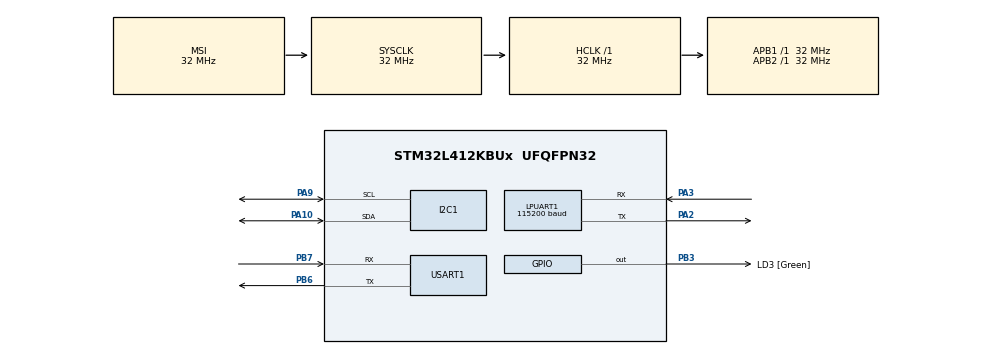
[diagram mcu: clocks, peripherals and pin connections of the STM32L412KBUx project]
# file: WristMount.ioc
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I2C1.Timing=0x00B07CB4
LPUART1.BaudRate=115200
LPUART1.WordLength=UART_WORDLENGTH_8B
Mcu.Family=STM32L4
Mcu.Name=STM32L412KBUx
Mcu.Package=UFQFPN32
NVIC.PriorityGroup=NVIC_PRIORITYGROUP_4
PA10.Mode=I2C
PA10.Signal=I2C1_SDA
PA13\ (JTMS/SWDIO).GPIO_Label=SWDIO
PA13\ (JTMS/SWDIO).Signal=SYS_JTMS-SWDIO
PA14\ (JTCK/SWCLK).GPIO_Label=SWCLK
PA14\ (JTCK/SWCLK).Signal=SYS_JTCK-SWCLK
PA2.Mode=Asynchronous
PA2.Signal=LPUART1_TX
PA3.Mode=Asynchronous
PA3.Signal=LPUART1_RX
PA9.Mode=I2C
PA9.Signal=I2C1_SCL
PB3\ (JTDO/TRACESWO).GPIO_Label=LD3 [Green]
PB3\ (JTDO/TRACESWO).Signal=GPIO_Output
PB6.Mode=Asynchronous
PB6.Signal=USART1_TX
PB7.Mode=Asynchronous
PB7.Signal=USART1_RX
PC14-OSC32_IN\ (PC14).Mode=LSE-External-Oscillator
PC14-OSC32_IN\ (PC14).Signal=RCC_OSC32_IN
PC15-OSC32_OUT\ (PC15).Mode=LSE-External-Oscillator
PC15-OSC32_OUT\ (PC15).Signal=RCC_OSC32_OUT
ProjectManager.HeapSize=0x200
ProjectManager.StackSize=0x400
ProjectManager.TargetToolchain=STM32CubeIDE
RCC.ADCFreq_Value=32000000
RCC.AHBFreq_Value=32000000
RCC.APB1Freq_Value=32000000
RCC.APB1TimFreq_Value=32000000
RCC.APB2Freq_Value=32000000
RCC.APB2TimFreq_Value=32000000
RCC.CortexFreq_Value=32000000
RCC.FLatency=FLASH_LATENCY_1
RCC.HCLKFreq_Value=32000000
RCC.HSE_VALUE=8000000
RCC.HSI48_VALUE=48000000
RCC.HSICalibrationValue=64
RCC.HSI_VALUE=16000000
RCC.MSIClockRange=RCC_MSIRANGE_10
RCC.MSI_VALUE=32000000
RCC.SYSCLKFreq_VALUE=32000000
RCC.USBFreq_Value=32000000
RCC.VCOOutputFreq_Value=256000000
USART1.VirtualMode-Asynchronous=VM_ASYNC
board=NUCLEO-L412KB

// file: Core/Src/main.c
/* USER CODE BEGIN Header */
/**
  ******************************************************************************
  * @file           : main.c
  * @brief          : Main program body
  ******************************************************************************
  * @attention
  *
  * Copyright (c) 2026 STMicroelectronics.
  * All rights reserved.
  *
  * This software is licensed under terms that can be found in the LICENSE file
  * in the root directory of this software component.
  * If no LICENSE file comes with this software, it is provided AS-IS.
  *
  ******************************************************************************
  */
/* USER CODE END Header */
#include "main.h"

/* USER CODE BEGIN Includes */
#include "stdio.h"
#include "math.h"
#include "string.h"
/* USER CODE END Includes */

I2C_HandleTypeDef hi2c1;

UART_HandleTypeDef hlpuart1;
UART_HandleTypeDef huart1;

void SystemClock_Config(void);
static void MX_GPIO_Init(void);
static void MX_I2C1_Init(void);
static void MX_USART1_UART_Init(void);
static void MX_LPUART1_UART_Init(void);

/* USER CODE BEGIN 0 */
uint8_t gyroAddr = 0x28 << 1;
float UARTBuffer[2];
uint8_t buffer[8];
int16_t X_Offset;
int16_t Y_Offset;
int16_t Z_Offset;
int16_t X;
int16_t Y;
int16_t Z;

/* USER CODE END 0 */

int main(void)
{

  /* MCU Configuration--------------------------------------------------------*/

  /* Reset of all peripherals, Initializes the Flash interface and the Systick. */
  HAL_Init();

  /* Configure the system clock */
  SystemClock_Config();

  /* Initialize all configured peripherals */
  MX_GPIO_Init();
  MX_I2C1_Init();
  MX_USART1_UART_Init();
  MX_LPUART1_UART_Init();
  /* USER CODE BEGIN 2 */

  // Configure Accelerometer
  *buffer = 0x07; // Page ID
  *(buffer + 1) = 0x00; // Page 0x00
  HAL_I2C_Master_Transmit(&hi2c1, gyroAddr, buffer, 2, HAL_MAX_DELAY);

  *buffer = 0x3D; // OPR_MODE
  *(buffer + 1) = 0b00010000; // Set to Config Mode
  HAL_I2C_Master_Transmit(&hi2c1, gyroAddr, buffer, 2, HAL_MAX_DELAY);

  *buffer = 0x07; // Page ID
  *(buffer + 1) = 0x01; // Page 0x01
  HAL_I2C_Master_Transmit(&hi2c1, gyroAddr, buffer, 2, HAL_MAX_DELAY);

  *buffer = 0x08; // ACC_CONFIG
  *(buffer + 1) = 0b00010000;
  HAL_I2C_Master_Transmit(&hi2c1, gyroAddr, buffer, 2, HAL_MAX_DELAY);

  *buffer = 0x07; // Page ID
  *(buffer + 1) = 0x00; // Page 0x00
  HAL_I2C_Master_Transmit(&hi2c1, gyroAddr, buffer, 2, HAL_MAX_DELAY);

  *buffer = 0x3B; // UNIT_SEL
  *(buffer + 1) = 0b10000001; // Set ACC units to mg
  HAL_I2C_Master_Transmit(&hi2c1, gyroAddr, buffer, 2, HAL_MAX_DELAY);

  *buffer = 0x3D; // OPR_MODE
  *(buffer + 1) = 0b00011000; // Set to IMU
  HAL_I2C_Master_Transmit(&hi2c1, gyroAddr, buffer, 2, HAL_MAX_DELAY);

  *buffer = 0x3E; // PWR_MODE
  *(buffer + 1) = 0x00; // Normal MOde
  HAL_I2C_Master_Transmit(&hi2c1, gyroAddr, buffer, 2, HAL_MAX_DELAY);

  // Obtain Acc Offsets
  HAL_Delay(500); // Time to calibrate if needed
  *buffer = 0x55; // Start of ACC X, Y, Z offset data
  HAL_I2C_Master_Transmit(&hi2c1, gyroAddr, buffer, 1, HAL_MAX_DELAY);
  HAL_I2C_Master_Receive(&hi2c1, gyroAddr, buffer, 6, HAL_MAX_DELAY);

  X_Offset = *buffer | (*(buffer + 1) << 8);
  Y_Offset = *(buffer + 2) | (*(buffer + 3) << 8);
  Z_Offset = *(buffer + 4) | (*(buffer + 5) << 8);
  /* USER CODE END 2 */

  /* Infinite loop */
  /* USER CODE BEGIN WHILE */
  while (1)
  {
	*buffer = 0x08; // Start of ACC X, Y, Z data
	HAL_I2C_Master_Transmit(&hi2c1, gyroAddr, buffer, 1, HAL_MAX_DELAY);
	HAL_I2C_Master_Receive(&hi2c1, gyroAddr, buffer, 6, HAL_MAX_DELAY);

	X = *buffer | (*(buffer + 1) << 8);
	Y = *(buffer + 2) | (*(buffer + 3) << 8);
	Z = *(buffer + 4) | (*(buffer + 5) << 8);

	float roll = (180.0/M_PI) * atan2(X, Z);
	float pitch = (180.0/M_PI) * atan2(Y, Z);

	// Clip Roll
	if (roll < 25.0 && roll > -25.0) {
		roll = 0;
	}
	else if (roll > 90.0) {
		roll = 1;
	}
	else if (roll < -90.0) {
		roll = -1;
	} else {
		roll = roll / 90.0;
	}

	// Clip Pitch
	if (pitch < 10.0 && pitch > -10.0) {
		pitch = 0;
	}
	else if (pitch > 60.0) {
		pitch = 1;
	}
	else if (pitch < -60.0) {
		pitch = -1;
	} else {
		pitch = pitch / 60.0;
	}

	printf("roll: %.2f, pitch: %.2f, X: %d, Y: %d, Z: %d\r\n", roll, pitch, X + X_Offset,Y + Y_Offset,Z + Z_Offset);

	UARTBuffer[0] = roll;
	UARTBuffer[1] = pitch;

	HAL_UART_Transmit(&huart1, (void*)&UARTBuffer, 8, HAL_MAX_DELAY);
	HAL_Delay(50);
//	printf("angle: %.2f\r\n", angle);

    /* USER CODE END WHILE */

  }
}

void SystemClock_Config(void)
{
  RCC_OscInitTypeDef RCC_OscInitStruct = {0};
  RCC_ClkInitTypeDef RCC_ClkInitStruct = {0};

  /** Configure the main internal regulator output voltage
  */
  if (HAL_PWREx_ControlVoltageScaling(PWR_REGULATOR_VOLTAGE_SCALE1) != HAL_OK)
  {
    Error_Handler();
  }

  /** Configure LSE Drive Capability
  */
  HAL_PWR_EnableBkUpAccess();
  __HAL_RCC_LSEDRIVE_CONFIG(RCC_LSEDRIVE_LOW);

  /** Initializes the RCC Oscillators according to the specified parameters
  * in the RCC_OscInitTypeDef structure.
  */
  RCC_OscInitStruct.OscillatorType = RCC_OSCILLATORTYPE_LSE|RCC_OSCILLATORTYPE_MSI;
  RCC_OscInitStruct.LSEState = RCC_LSE_ON;
  RCC_OscInitStruct.MSIState = RCC_MSI_ON;
  RCC_OscInitStruct.MSICalibrationValue = 0;
  RCC_OscInitStruct.MSIClockRange = RCC_MSIRANGE_10;
  RCC_OscInitStruct.PLL.PLLState = RCC_PLL_NONE;
  if (HAL_RCC_OscConfig(&RCC_OscInitStruct) != HAL_OK)
  {
    Error_Handler();
  }

  /** Initializes the CPU, AHB and APB buses clocks
  */
  RCC_ClkInitStruct.ClockType = RCC_CLOCKTYPE_HCLK|RCC_CLOCKTYPE_SYSCLK
                              |RCC_CLOCKTYPE_PCLK1|RCC_CLOCKTYPE_PCLK2;
  RCC_ClkInitStruct.SYSCLKSource = RCC_SYSCLKSOURCE_MSI;
  RCC_ClkInitStruct.AHBCLKDivider = RCC_SYSCLK_DIV1;
  RCC_ClkInitStruct.APB1CLKDivider = RCC_HCLK_DIV1;
  RCC_ClkInitStruct.APB2CLKDivider = RCC_HCLK_DIV1;

  if (HAL_RCC_ClockConfig(&RCC_ClkInitStruct, FLASH_LATENCY_1) != HAL_OK)
  {
    Error_Handler();
  }

  /** Enable MSI Auto calibration
  */
  HAL_RCCEx_EnableMSIPLLMode();
}

static void MX_I2C1_Init(void)
{

  hi2c1.Instance = I2C1;
  hi2c1.Init.Timing = 0x00B07CB4;
  hi2c1.Init.OwnAddress1 = 0;
  hi2c1.Init.AddressingMode = I2C_ADDRESSINGMODE_7BIT;
  hi2c1.Init.DualAddressMode = I2C_DUALADDRESS_DISABLE;
  hi2c1.Init.OwnAddress2 = 0;
  hi2c1.Init.OwnAddress2Masks = I2C_OA2_NOMASK;
  hi2c1.Init.GeneralCallMode = I2C_GENERALCALL_DISABLE;
  hi2c1.Init.NoStretchMode = I2C_NOSTRETCH_DISABLE;
  if (HAL_I2C_Init(&hi2c1) != HAL_OK)
  {
    Error_Handler();
  }

  /** Configure Analogue filter
  */
  if (HAL_I2CEx_ConfigAnalogFilter(&hi2c1, I2C_ANALOGFILTER_ENABLE) != HAL_OK)
  {
    Error_Handler();
  }

  /** Configure Digital filter
  */
  if (HAL_I2CEx_ConfigDigitalFilter(&hi2c1, 0) != HAL_OK)
  {
    Error_Handler();
  }

}

static void MX_LPUART1_UART_Init(void)
{

  hlpuart1.Instance = LPUART1;
  hlpuart1.Init.BaudRate = 115200;
  hlpuart1.Init.WordLength = UART_WORDLENGTH_8B;
  hlpuart1.Init.StopBits = UART_STOPBITS_1;
  hlpuart1.Init.Parity = UART_PARITY_NONE;
  hlpuart1.Init.Mode = UART_MODE_TX_RX;
  hlpuart1.Init.HwFlowCtl = UART_HWCONTROL_NONE;
  hlpuart1.Init.OneBitSampling = UART_ONE_BIT_SAMPLE_DISABLE;
  hlpuart1.AdvancedInit.AdvFeatureInit = UART_ADVFEATURE_NO_INIT;
  if (HAL_UART_Init(&hlpuart1) != HAL_OK)
  {
    Error_Handler();
  }

}

static void MX_USART1_UART_Init(void)
{

  huart1.Instance = USART1;
  huart1.Init.BaudRate = 115200;
  huart1.Init.WordLength = UART_WORDLENGTH_8B;
  huart1.Init.StopBits = UART_STOPBITS_1;
  huart1.Init.Parity = UART_PARITY_NONE;
  huart1.Init.Mode = UART_MODE_TX_RX;
  huart1.Init.HwFlowCtl = UART_HWCONTROL_NONE;
  huart1.Init.OverSampling = UART_OVERSAMPLING_16;
  huart1.Init.OneBitSampling = UART_ONE_BIT_SAMPLE_DISABLE;
  huart1.AdvancedInit.AdvFeatureInit = UART_ADVFEATURE_NO_INIT;
  if (HAL_UART_Init(&huart1) != HAL_OK)
  {
    Error_Handler();
  }

}

static void MX_GPIO_Init(void)
{
  GPIO_InitTypeDef GPIO_InitStruct = {0};

  /* GPIO Ports Clock Enable */
  __HAL_RCC_GPIOC_CLK_ENABLE();
  __HAL_RCC_GPIOA_CLK_ENABLE();
  __HAL_RCC_GPIOB_CLK_ENABLE();

  /*Configure GPIO pin Output Level */
  HAL_GPIO_WritePin(LD3_GPIO_Port, LD3_Pin, GPIO_PIN_RESET);

  /*Configure GPIO pin : LD3_Pin */
  GPIO_InitStruct.Pin = LD3_Pin;
  GPIO_InitStruct.Mode = GPIO_MODE_OUTPUT_PP;
  GPIO_InitStruct.Pull = GPIO_NOPULL;
  GPIO_InitStruct.Speed = GPIO_SPEED_FREQ_LOW;
  HAL_GPIO_Init(LD3_GPIO_Port, &GPIO_InitStruct);

}

/* USER CODE BEGIN 4 */
#ifdef __GNUC__
#define PUTCHAR_PROTOTYPE int __io_putchar(int ch)
#else
  #define PUTCHAR_PROTOTYPE int fputc(int ch, FILE *f)
#endif /* __GNUC__ */

PUTCHAR_PROTOTYPE
{
  HAL_UART_Transmit(&hlpuart1, (uint8_t *)&ch, 1, 0xFFFF);
  return ch;
}
/* USER CODE END 4 */

void Error_Handler(void)
{
  __disable_irq();
  while (1)
  {
  }
}
